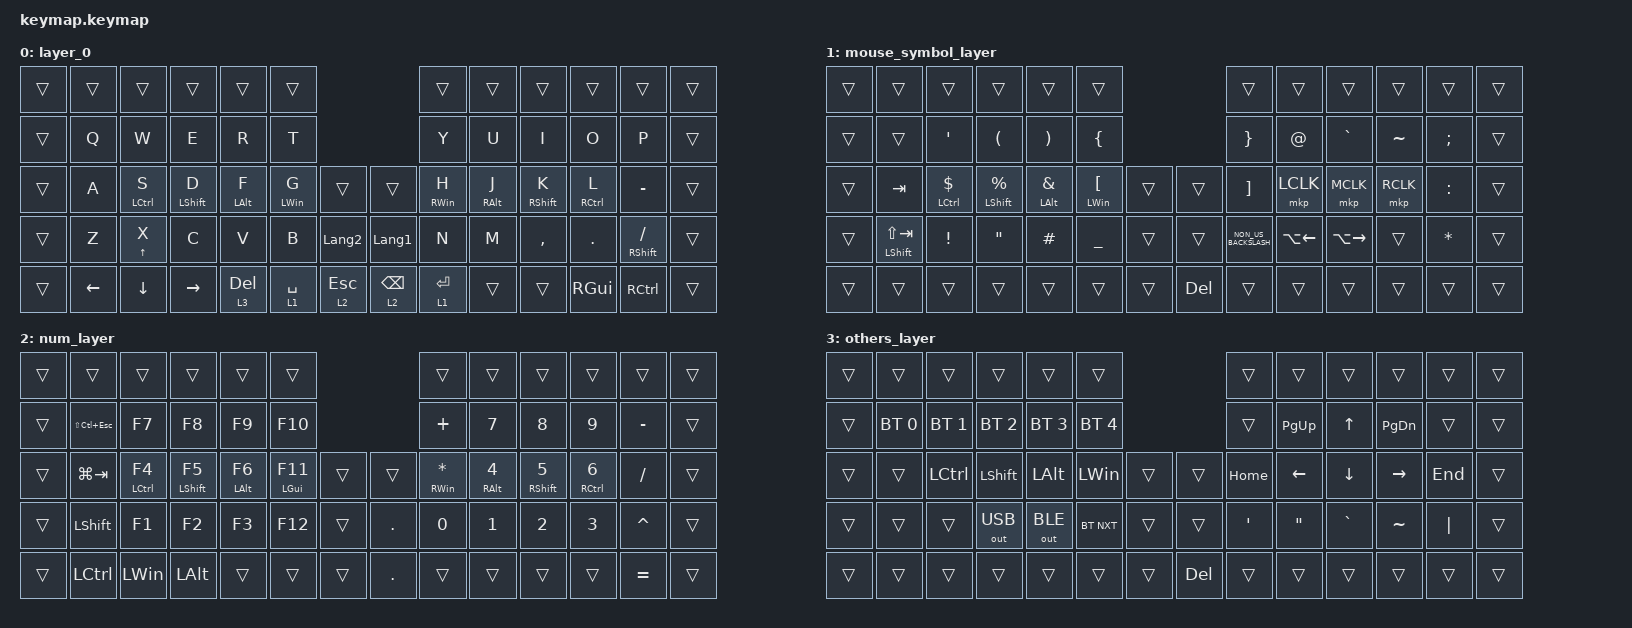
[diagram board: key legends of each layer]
#include <behaviors.dtsi>
#include <dt-bindings/zmk/bt.h>
#include <dt-bindings/zmk/keys.h>
#include <dt-bindings/zmk/outputs.h>
#include <dt-bindings/zmk/pointing.h>

&mt {
    quick-tap-ms = <200>;
    require-prior-idle-ms = <125>;
    flavor = "tap-preferred";
};

&lt { quick-tap-ms = <300>; };

/ {
    combos {
        compatible = "zmk,combos";

        bt_clear {
            bindings = <&bt BT_CLR>;
            key-positions = <53 54>;
            layers = <2>;
        };
    };

    keymap {
        compatible = "zmk,keymap";

        layer_0 {
            bindings = <
&trans  &trans    &trans          &trans            &trans          &trans                                           &trans           &trans           &trans             &trans       &trans                &trans
&trans  &kp Q     &kp W           &kp E             &kp R           &kp T                                            &kp Y            &kp U            &kp I              &kp O        &kp P                 &trans
&trans  &kp A     &mt LCTRL S     &mt LEFT_SHIFT D  &mt LEFT_ALT F  &mt LEFT_WIN G  &trans          &trans           &mt RIGHT_WIN H  &mt RIGHT_ALT J  &mt RIGHT_SHIFT K  &mt RCTRL L  &kp MINUS             &trans
&trans  &kp Z     &mt UP_ARROW X  &kp C             &kp V           &kp B           &kp LANGUAGE_2  &kp LANGUAGE_1   &kp N            &kp M            &kp COMMA          &kp DOT      &mt RIGHT_SHIFT FSLH  &trans
&trans  &kp LEFT  &kp DOWN        &kp RIGHT         &lt 3 DELETE    &lt 1 SPACE     &lt 2 ESCAPE    &lt 2 BACKSPACE  &lt 1 ENTER      &trans           &trans             &kp RGUI     &kp RCTRL             &trans
            >;
        };

        mouse_symbol_layer {
            bindings = <
&trans  &trans                  &trans            &trans                  &trans                  &trans                                         &trans                &trans        &trans         &trans     &trans         &trans
&trans  &trans                  &kp SQT           &kp LEFT_PARENTHESIS    &kp RIGHT_PARENTHESIS   &kp LEFT_BRACE                                 &kp RIGHT_BRACE       &kp AT_SIGN   &kp GRAVE      &kp TILDE  &kp SEMICOLON  &trans
&trans  &kp TAB                 &mt LCTRL DOLLAR  &mt LEFT_SHIFT PERCENT  &mt LEFT_ALT AMPERSAND  &mt LEFT_WIN LEFT_BRACKET  &trans  &trans      &kp RIGHT_BRACKET     &mkp LCLK     &mkp MCLK      &mkp RCLK  &kp COLON      &trans
&trans  &mt LEFT_SHIFT LS(TAB)  &kp EXCLAMATION   &kp DOUBLE_QUOTES       &kp HASH                &kp UNDERSCORE             &trans  &trans      &kp NON_US_BACKSLASH  &kp LA(LEFT)  &kp LA(RIGHT)  &trans     &kp ASTERISK   &trans
&trans  &trans                  &trans            &trans                  &trans                  &trans                     &trans  &kp DELETE  &trans                &trans        &trans         &trans     &trans         &trans
            >;
        };

        num_layer {
            bindings = <
&trans  &trans              &trans        &trans             &trans           &trans                                &trans                  &trans                  &trans                    &trans              &trans     &trans
&trans  &kp LS(LC(ESCAPE))  &kp F7        &kp F8             &kp F9           &kp F10                               &kp PLUS                &kp NUMBER_7            &kp NUMBER_8              &kp NUMBER_9        &kp MINUS  &trans
&trans  &kp LG(TAB)         &mt LCTRL F4  &mt LEFT_SHIFT F5  &mt LEFT_ALT F6  &mt LEFT_GUI F11  &trans  &trans      &mt RIGHT_WIN ASTERISK  &mt RIGHT_ALT NUMBER_4  &mt RIGHT_SHIFT NUMBER_5  &mt RCTRL NUMBER_6  &kp SLASH  &trans
&trans  &kp LEFT_SHIFT      &kp F1        &kp F2             &kp F3           &kp F12           &trans  &kp PERIOD  &kp NUMBER_0            &kp NUMBER_1            &kp NUMBER_2              &kp NUMBER_3        &kp CARET  &trans
&trans  &kp LCTRL           &kp LEFT_WIN  &kp LEFT_ALT       &trans           &trans            &trans  &kp DOT     &trans                  &trans                  &trans                    &trans              &kp EQUAL  &trans
            >;
        };

        others_layer {
            bindings = <
&trans  &trans        &trans        &trans          &trans        &trans                            &trans            &trans          &trans        &trans         &trans    &trans
&trans  &bt BT_SEL 0  &bt BT_SEL 1  &bt BT_SEL 2    &bt BT_SEL 3  &bt BT_SEL 4                      &trans            &kp PG_UP       &kp UP_ARROW  &kp PAGE_DOWN  &trans    &trans
&trans  &trans        &kp LCTRL     &kp LEFT_SHIFT  &kp LEFT_ALT  &kp LEFT_WIN  &trans  &trans      &kp HOME          &kp LEFT_ARROW  &kp DOWN      &kp RIGHT      &kp END   &trans
&trans  &trans        &trans        &out OUT_USB    &out OUT_BLE  &bt BT_NXT    &trans  &trans      &kp SINGLE_QUOTE  &kp DQT         &kp GRAVE     &kp TILDE      &kp PIPE  &trans
&trans  &trans        &trans        &trans          &trans        &trans        &trans  &kp DELETE  &trans            &trans          &trans        &trans         &trans    &trans
            >;
        };
    };
};
